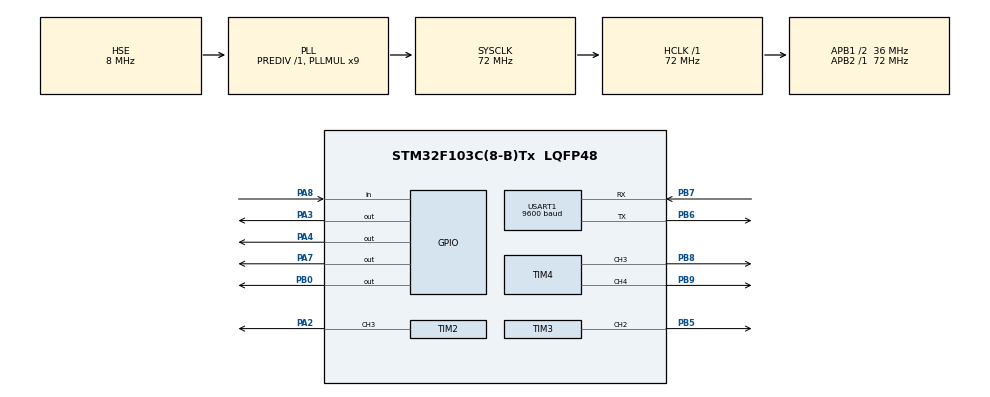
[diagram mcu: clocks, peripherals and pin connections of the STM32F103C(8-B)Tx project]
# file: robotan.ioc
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Dma.Request0=TIM3_CH4/UP
Dma.Request1=TIM2_CH3
Dma.TIM2_CH3.1.Direction=DMA_MEMORY_TO_PERIPH
Dma.TIM2_CH3.1.Instance=DMA1_Channel1
Dma.TIM2_CH3.1.MemDataAlignment=DMA_MDATAALIGN_HALFWORD
Dma.TIM2_CH3.1.MemInc=DMA_MINC_ENABLE
Dma.TIM2_CH3.1.Mode=DMA_NORMAL
Dma.TIM2_CH3.1.PeriphDataAlignment=DMA_PDATAALIGN_HALFWORD
Dma.TIM2_CH3.1.PeriphInc=DMA_PINC_DISABLE
Dma.TIM2_CH3.1.Priority=DMA_PRIORITY_LOW
Dma.TIM3_CH4/UP.0.Direction=DMA_MEMORY_TO_PERIPH
Dma.TIM3_CH4/UP.0.Instance=DMA1_Channel3
Dma.TIM3_CH4/UP.0.MemDataAlignment=DMA_MDATAALIGN_HALFWORD
Dma.TIM3_CH4/UP.0.MemInc=DMA_MINC_ENABLE
Dma.TIM3_CH4/UP.0.Mode=DMA_NORMAL
Dma.TIM3_CH4/UP.0.PeriphDataAlignment=DMA_PDATAALIGN_HALFWORD
Dma.TIM3_CH4/UP.0.PeriphInc=DMA_PINC_DISABLE
Dma.TIM3_CH4/UP.0.Priority=DMA_PRIORITY_LOW
Mcu.Family=STM32F1
Mcu.Name=STM32F103C(8-B)Tx
Mcu.Package=LQFP48
NVIC.DMA1_Channel1_IRQn=true\:0\:0\:false\:false\:true\:false\:true\:true
NVIC.DMA1_Channel3_IRQn=true\:0\:0\:false\:false\:true\:false\:true\:true
NVIC.PriorityGroup=NVIC_PRIORITYGROUP_4
NVIC.USART1_IRQn=true\:0\:0\:false\:false\:true\:true\:true\:true
PA13.Mode=Serial_Wire
PA13.Signal=SYS_JTMS-SWDIO
PA14.Mode=Serial_Wire
PA14.Signal=SYS_JTCK-SWCLK
PA2.Signal=S_TIM2_CH3
PA3.Signal=GPIO_Output
PA4.Signal=GPIO_Output
PA7.Signal=GPIO_Output
PA8.Signal=GPIO_Input
PB0.Signal=GPIO_Output
PB5.Signal=S_TIM3_CH2
PB6.Mode=Asynchronous
PB6.Signal=USART1_TX
PB7.Mode=Asynchronous
PB7.Signal=USART1_RX
PB8.Signal=S_TIM4_CH3
PB9.Signal=S_TIM4_CH4
PD0-OSC_IN.Mode=HSE-External-Oscillator
PD0-OSC_IN.Signal=RCC_OSC_IN
PD1-OSC_OUT.Mode=HSE-External-Oscillator
PD1-OSC_OUT.Signal=RCC_OSC_OUT
ProjectManager.HeapSize=0x200
ProjectManager.StackSize=0x400
ProjectManager.TargetToolchain=STM32CubeIDE
RCC.AHBFreq_Value=72000000
RCC.APB1CLKDivider=RCC_HCLK_DIV2
RCC.APB1Freq_Value=36000000
RCC.APB1TimFreq_Value=72000000
RCC.APB2Freq_Value=72000000
RCC.APB2TimFreq_Value=72000000
RCC.HCLKFreq_Value=72000000
RCC.PLLMUL=RCC_PLL_MUL9
RCC.PLLSourceVirtual=RCC_PLLSOURCE_HSE
RCC.SYSCLKFreq_VALUE=72000000
RCC.SYSCLKSource=RCC_SYSCLKSOURCE_PLLCLK
RCC.USBFreq_Value=72000000
SH.S_TIM2_CH3.0=TIM2_CH3,PWM Generation3 CH3
SH.S_TIM3_CH2.0=TIM3_CH2,PWM Generation2 CH2
SH.S_TIM4_CH3.0=TIM4_CH3,PWM Generation3 CH3
SH.S_TIM4_CH4.0=TIM4_CH4,PWM Generation4 CH4
TIM2.Channel-PWM\ Generation3\ CH3=TIM_CHANNEL_3
TIM2.Period=625-1
TIM2.Prescaler=128-1
TIM3.Channel-PWM\ Generation2\ CH2=TIM_CHANNEL_2
TIM3.Period=625-1
TIM3.Prescaler=128-1
TIM4.Channel-PWM\ Generation3\ CH3=TIM_CHANNEL_3
TIM4.Channel-PWM\ Generation4\ CH4=TIM_CHANNEL_4
USART1.BaudRate=9600
USART1.VirtualMode=VM_ASYNC
board=custom

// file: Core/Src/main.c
/* USER CODE BEGIN Header */
/**
  ******************************************************************************
  * @file           : main.c
  * @brief          : Main program body
  ******************************************************************************
  * @attention
  *
  * Copyright (c) 2026 STMicroelectronics.
  * All rights reserved.
  *
  * This software is licensed under terms that can be found in the LICENSE file
  * in the root directory of this software component.
  * If no LICENSE file comes with this software, it is provided AS-IS.
  *
  ******************************************************************************
  */
/* USER CODE END Header */
#include "main.h"

TIM_HandleTypeDef htim2;
TIM_HandleTypeDef htim3;
TIM_HandleTypeDef htim4;
DMA_HandleTypeDef hdma_tim2_ch3;
DMA_HandleTypeDef hdma_tim3_ch4_up;

UART_HandleTypeDef huart1;

/* USER CODE BEGIN PV */
static uint8_t rxData;
static volatile uint16_t baseSpeed = 0;
static volatile uint8_t direction = 'S';
static volatile uint8_t rxFailed = 0;
  /* USER CODE END PV */

void SystemClock_Config(void);
static void MX_GPIO_Init(void);
static void MX_DMA_Init(void);
static void MX_TIM2_Init(void);
static void MX_TIM3_Init(void);
static void MX_TIM4_Init(void);
static void MX_USART1_UART_Init(void);

/* USER CODE BEGIN 0 */
static void Motor_Set(int16_t motorA, int16_t motorB)
{
  /* Latch zero PWM before changing direction; new duty loads next period. */
  __HAL_TIM_SET_COMPARE(&htim2, TIM_CHANNEL_3, 0);
  __HAL_TIM_SET_COMPARE(&htim3, TIM_CHANNEL_2, 0);
  TIM2->EGR = TIM_EGR_UG;
  TIM3->EGR = TIM_EGR_UG;
  HAL_GPIO_WritePin(GPIOA, GPIO_PIN_3, motorA > 0 ? GPIO_PIN_SET : GPIO_PIN_RESET);
  HAL_GPIO_WritePin(GPIOA, GPIO_PIN_4, motorA < 0 ? GPIO_PIN_SET : GPIO_PIN_RESET);
  HAL_GPIO_WritePin(GPIOA, GPIO_PIN_7, motorB < 0 ? GPIO_PIN_SET : GPIO_PIN_RESET);
  HAL_GPIO_WritePin(GPIOB, GPIO_PIN_0, motorB > 0 ? GPIO_PIN_SET : GPIO_PIN_RESET);
  __HAL_TIM_SET_COMPARE(&htim2, TIM_CHANNEL_3, motorA < 0 ? -motorA : motorA);
  __HAL_TIM_SET_COMPARE(&htim3, TIM_CHANNEL_2, motorB < 0 ? -motorB : motorB);
}
  /* USER CODE END 0 */

int main(void)
{

  /* USER CODE BEGIN 1 */
  int16_t appliedA = 0;
  int16_t appliedB = 0;
  /* USER CODE END 1 */

  /* MCU Configuration--------------------------------------------------------*/

  /* Reset of all peripherals, Initializes the Flash interface and the Systick. */
  HAL_Init();

  /* Configure the system clock */
  SystemClock_Config();

  /* Initialize all configured peripherals */
  MX_GPIO_Init();
  MX_DMA_Init();
  MX_TIM2_Init();
  MX_TIM3_Init();
  MX_TIM4_Init();
  MX_USART1_UART_Init();
  /* USER CODE BEGIN 2 */
  if (HAL_TIM_PWM_Start(&htim2, TIM_CHANNEL_3) != HAL_OK)
  {
    Error_Handler();
  }
  if (HAL_TIM_PWM_Start(&htim3, TIM_CHANNEL_2) != HAL_OK)
  {
    Error_Handler();
  }

    if (HAL_UART_Receive_IT(&huart1, &rxData, 1) != HAL_OK)
  {
    Error_Handler();
  }
  /* USER CODE END 2 */

  /* Infinite loop */
  while (1)
  {

    /* USER CODE BEGIN 3 */
    /* Snapshot the ISR-owned speed and direction together. */
    uint32_t primask = __get_PRIMASK();
    __disable_irq();
    int16_t speed = (int16_t)baseSpeed;
    uint8_t command = direction;
    uint8_t failed = rxFailed;
    __set_PRIMASK(primask);
    if (failed)
    {
      Motor_Set(0, 0);
      Error_Handler();
    }

    int16_t motorA = 0;
    int16_t motorB = 0;
    switch (command)
    {
      case 'F': motorA = speed;  motorB = speed;  break;
      case 'B': motorA = -speed; motorB = -speed; break;
      case 'R': motorA = -speed; motorB = speed;  break;
      case 'L': motorA = speed;  motorB = -speed; break;
      default: break;

    }
    if (motorA != appliedA || motorB != appliedB)
    {
      Motor_Set(motorA, motorB);
      appliedA = motorA;
      appliedB = motorB;
    }
  }
  /* USER CODE END 3 */
}

void SystemClock_Config(void)
{
  RCC_OscInitTypeDef RCC_OscInitStruct = {0};
  RCC_ClkInitTypeDef RCC_ClkInitStruct = {0};

  /** Initializes the RCC Oscillators according to the specified parameters
  * in the RCC_OscInitTypeDef structure.
  */
  RCC_OscInitStruct.OscillatorType = RCC_OSCILLATORTYPE_HSE;
  RCC_OscInitStruct.HSEState = RCC_HSE_ON;
  RCC_OscInitStruct.HSEPredivValue = RCC_HSE_PREDIV_DIV1;
  RCC_OscInitStruct.HSIState = RCC_HSI_ON;
  RCC_OscInitStruct.PLL.PLLState = RCC_PLL_ON;
  RCC_OscInitStruct.PLL.PLLSource = RCC_PLLSOURCE_HSE;
  RCC_OscInitStruct.PLL.PLLMUL = RCC_PLL_MUL9;
  if (HAL_RCC_OscConfig(&RCC_OscInitStruct) != HAL_OK)
  {
    Error_Handler();
  }

  /** Initializes the CPU, AHB and APB buses clocks
  */
  RCC_ClkInitStruct.ClockType = RCC_CLOCKTYPE_HCLK|RCC_CLOCKTYPE_SYSCLK
                              |RCC_CLOCKTYPE_PCLK1|RCC_CLOCKTYPE_PCLK2;
  RCC_ClkInitStruct.SYSCLKSource = RCC_SYSCLKSOURCE_PLLCLK;
  RCC_ClkInitStruct.AHBCLKDivider = RCC_SYSCLK_DIV1;
  RCC_ClkInitStruct.APB1CLKDivider = RCC_HCLK_DIV2;
  RCC_ClkInitStruct.APB2CLKDivider = RCC_HCLK_DIV1;

  if (HAL_RCC_ClockConfig(&RCC_ClkInitStruct, FLASH_LATENCY_2) != HAL_OK)
  {
    Error_Handler();
  }
}

static void MX_TIM2_Init(void)
{

  TIM_MasterConfigTypeDef sMasterConfig = {0};
  TIM_OC_InitTypeDef sConfigOC = {0};

  htim2.Instance = TIM2;
  htim2.Init.Prescaler = 128-1;
  htim2.Init.CounterMode = TIM_COUNTERMODE_UP;
  htim2.Init.Period = 625-1;
  htim2.Init.ClockDivision = TIM_CLOCKDIVISION_DIV1;
  htim2.Init.AutoReloadPreload = TIM_AUTORELOAD_PRELOAD_DISABLE;
  if (HAL_TIM_PWM_Init(&htim2) != HAL_OK)
  {
    Error_Handler();
  }
  sMasterConfig.MasterOutputTrigger = TIM_TRGO_RESET;
  sMasterConfig.MasterSlaveMode = TIM_MASTERSLAVEMODE_DISABLE;
  if (HAL_TIMEx_MasterConfigSynchronization(&htim2, &sMasterConfig) != HAL_OK)
  {
    Error_Handler();
  }
  sConfigOC.OCMode = TIM_OCMODE_PWM1;
  sConfigOC.Pulse = 0;
  sConfigOC.OCPolarity = TIM_OCPOLARITY_HIGH;
  sConfigOC.OCFastMode = TIM_OCFAST_DISABLE;
  if (HAL_TIM_PWM_ConfigChannel(&htim2, &sConfigOC, TIM_CHANNEL_3) != HAL_OK)
  {
    Error_Handler();
  }
  HAL_TIM_MspPostInit(&htim2);

}

static void MX_TIM3_Init(void)
{

  TIM_MasterConfigTypeDef sMasterConfig = {0};
  TIM_OC_InitTypeDef sConfigOC = {0};

  htim3.Instance = TIM3;
  htim3.Init.Prescaler = 128-1;
  htim3.Init.CounterMode = TIM_COUNTERMODE_UP;
  htim3.Init.Period = 625-1;
  htim3.Init.ClockDivision = TIM_CLOCKDIVISION_DIV1;
  htim3.Init.AutoReloadPreload = TIM_AUTORELOAD_PRELOAD_DISABLE;
  if (HAL_TIM_PWM_Init(&htim3) != HAL_OK)
  {
    Error_Handler();
  }
  sMasterConfig.MasterOutputTrigger = TIM_TRGO_RESET;
  sMasterConfig.MasterSlaveMode = TIM_MASTERSLAVEMODE_DISABLE;
  if (HAL_TIMEx_MasterConfigSynchronization(&htim3, &sMasterConfig) != HAL_OK)
  {
    Error_Handler();
  }
  sConfigOC.OCMode = TIM_OCMODE_PWM1;
  sConfigOC.Pulse = 0;
  sConfigOC.OCPolarity = TIM_OCPOLARITY_HIGH;
  sConfigOC.OCFastMode = TIM_OCFAST_DISABLE;
  if (HAL_TIM_PWM_ConfigChannel(&htim3, &sConfigOC, TIM_CHANNEL_2) != HAL_OK)
  {
    Error_Handler();
  }
  HAL_TIM_MspPostInit(&htim3);

}

static void MX_TIM4_Init(void)
{

  TIM_MasterConfigTypeDef sMasterConfig = {0};
  TIM_OC_InitTypeDef sConfigOC = {0};

  htim4.Instance = TIM4;
  htim4.Init.Prescaler = 0;
  htim4.Init.CounterMode = TIM_COUNTERMODE_UP;
  htim4.Init.Period = 65535;
  htim4.Init.ClockDivision = TIM_CLOCKDIVISION_DIV1;
  htim4.Init.AutoReloadPreload = TIM_AUTORELOAD_PRELOAD_DISABLE;
  if (HAL_TIM_PWM_Init(&htim4) != HAL_OK)
  {
    Error_Handler();
  }
  sMasterConfig.MasterOutputTrigger = TIM_TRGO_RESET;
  sMasterConfig.MasterSlaveMode = TIM_MASTERSLAVEMODE_DISABLE;
  if (HAL_TIMEx_MasterConfigSynchronization(&htim4, &sMasterConfig) != HAL_OK)
  {
    Error_Handler();
  }
  sConfigOC.OCMode = TIM_OCMODE_PWM1;
  sConfigOC.Pulse = 0;
  sConfigOC.OCPolarity = TIM_OCPOLARITY_HIGH;
  sConfigOC.OCFastMode = TIM_OCFAST_DISABLE;
  if (HAL_TIM_PWM_ConfigChannel(&htim4, &sConfigOC, TIM_CHANNEL_3) != HAL_OK)
  {
    Error_Handler();
  }
  if (HAL_TIM_PWM_ConfigChannel(&htim4, &sConfigOC, TIM_CHANNEL_4) != HAL_OK)
  {
    Error_Handler();
  }
  HAL_TIM_MspPostInit(&htim4);

}

static void MX_USART1_UART_Init(void)
{

  huart1.Instance = USART1;
  huart1.Init.BaudRate = 9600;
  huart1.Init.WordLength = UART_WORDLENGTH_8B;
  huart1.Init.StopBits = UART_STOPBITS_1;
  huart1.Init.Parity = UART_PARITY_NONE;
  huart1.Init.Mode = UART_MODE_TX_RX;
  huart1.Init.HwFlowCtl = UART_HWCONTROL_NONE;
  huart1.Init.OverSampling = UART_OVERSAMPLING_16;
  if (HAL_UART_Init(&huart1) != HAL_OK)
  {
    Error_Handler();
  }

}

static void MX_DMA_Init(void)
{

  /* DMA controller clock enable */
  __HAL_RCC_DMA1_CLK_ENABLE();

  /* DMA interrupt init */
  /* DMA1_Channel1_IRQn interrupt configuration */
  HAL_NVIC_SetPriority(DMA1_Channel1_IRQn, 0, 0);
  HAL_NVIC_EnableIRQ(DMA1_Channel1_IRQn);
  /* DMA1_Channel3_IRQn interrupt configuration */
  HAL_NVIC_SetPriority(DMA1_Channel3_IRQn, 0, 0);
  HAL_NVIC_EnableIRQ(DMA1_Channel3_IRQn);

}

static void MX_GPIO_Init(void)
{
  GPIO_InitTypeDef GPIO_InitStruct = {0};

  /* GPIO Ports Clock Enable */
  __HAL_RCC_GPIOD_CLK_ENABLE();
  __HAL_RCC_GPIOA_CLK_ENABLE();
  __HAL_RCC_GPIOB_CLK_ENABLE();

  /*Configure GPIO pin Output Level */
  HAL_GPIO_WritePin(GPIOA, GPIO_PIN_3|GPIO_PIN_4|GPIO_PIN_7, GPIO_PIN_RESET);

  /*Configure GPIO pin Output Level */
  HAL_GPIO_WritePin(GPIOB, GPIO_PIN_0, GPIO_PIN_RESET);

  /*Configure GPIO pins : PA3 PA4 PA7 */
  GPIO_InitStruct.Pin = GPIO_PIN_3|GPIO_PIN_4|GPIO_PIN_7;
  GPIO_InitStruct.Mode = GPIO_MODE_OUTPUT_PP;
  GPIO_InitStruct.Pull = GPIO_NOPULL;
  GPIO_InitStruct.Speed = GPIO_SPEED_FREQ_LOW;
  HAL_GPIO_Init(GPIOA, &GPIO_InitStruct);

  /*Configure GPIO pin : PB0 */
  GPIO_InitStruct.Pin = GPIO_PIN_0;
  GPIO_InitStruct.Mode = GPIO_MODE_OUTPUT_PP;
  GPIO_InitStruct.Pull = GPIO_NOPULL;
  GPIO_InitStruct.Speed = GPIO_SPEED_FREQ_LOW;
  HAL_GPIO_Init(GPIOB, &GPIO_InitStruct);

  /*Configure GPIO pin : PA8 */
  GPIO_InitStruct.Pin = GPIO_PIN_8;
  GPIO_InitStruct.Mode = GPIO_MODE_INPUT;
  GPIO_InitStruct.Pull = GPIO_NOPULL;
  HAL_GPIO_Init(GPIOA, &GPIO_InitStruct);

}

/* USER CODE BEGIN 4 */
void HAL_UART_RxCpltCallback(UART_HandleTypeDef *huart)
{
  if (huart->Instance != USART1) return;
  switch (rxData)
  {
    case '1': baseSpeed = 200; break;
    case '3': baseSpeed = 400; break;
    case 'q': baseSpeed = 600; break;
    case 'F': case 'B': case 'R': case 'L': case 'S': direction = rxData; break;
    default: break;
  }
  if (HAL_UART_Receive_IT(huart, &rxData, 1) != HAL_OK)
  {
    direction = 'S';
    rxFailed = 1;
  }
}

void HAL_UART_ErrorCallback(UART_HandleTypeDef *huart)
{
  if (huart->Instance != USART1) return;
  direction = 'S';
  __HAL_UART_CLEAR_OREFLAG(huart);
  if (huart->RxState == HAL_UART_STATE_READY &&
      HAL_UART_Receive_IT(huart, &rxData, 1) != HAL_OK)
  {
    rxFailed = 1;
  }
}
  /* USER CODE END 4 */

void Error_Handler(void)
{
  __disable_irq();
  while (1)
  {
  }
}
